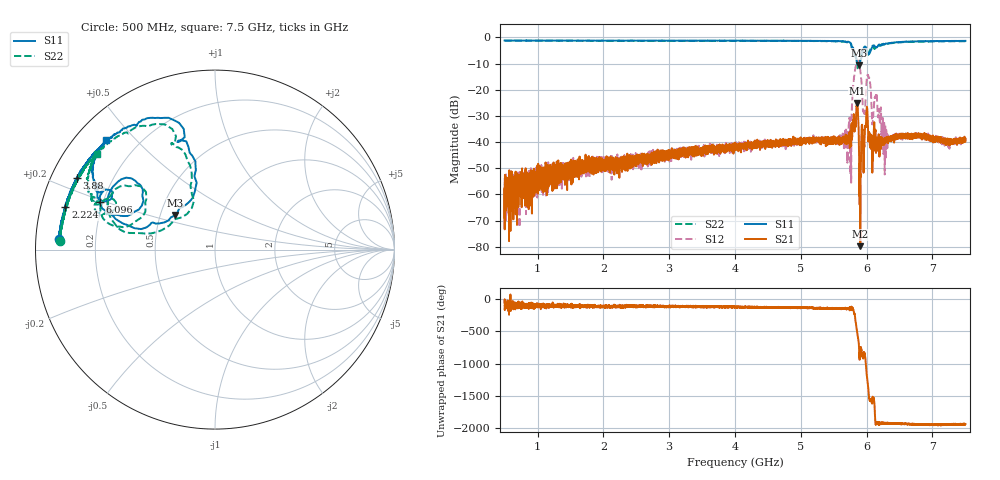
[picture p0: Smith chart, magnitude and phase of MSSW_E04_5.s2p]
!Keysight Technologies,M9374A,MY55442783,A.12.55.05
!Date: Wednesday, May 19, 2021 18:38:31
!Correction: S11(Full 2 Port(1,2))
!S21(Full 2 Port(1,2))
!S12(Full 2 Port(1,2))
!S22(Full 2 Port(1,2))
!S2P File: Measurements: S11, S21, S12, S22:
# Hz S  RI  R 50
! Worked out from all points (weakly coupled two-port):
!   7001 points, 500 MHz to 7.5 GHz, reference 50 ohm
!   highest |S21| = -25.03 dB at 5.859 GHz (marker M1); lowest = -79.8 dB at 5.903 GHz (marker M2)
!   lowest |S11| = -10.7 dB at 5.883 GHz (marker M3), VSWR 1.83, Z = 30 + j12.6 ohm
!   |S11| at or under -10 dB: 5.856 GHz to 5.895 GHz (39.51 MHz wide, 0.673 % of centre)
!   |S22| runs from -12.0 to -1.2 dB; largest |S21 - S12| = 0.34
!   S11 on the Smith chart (normalised r, x): 500 MHz: 0.07, +0.03; 2.224 GHz: 0.07, +0.14; 3.88 GHz: 0.08, +0.24; 6.096 GHz: 0.19, +0.19; 7.5 GHz: 0.09, +0.41
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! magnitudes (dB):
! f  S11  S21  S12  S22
! 500 MHz  -1.2  -58.0  -69.8  -1.2
! 536 MHz  -1.2  -62.0  -63.2  -1.2
! 717 MHz  -1.2  -60.6  -54.1  -1.2
! 1.667 GHz  -1.3  -48.6  -53.2  -1.3
! 2.224 GHz  -1.2  -47.4  -47.7  -1.3
! 2.834 GHz  -1.2  -45.2  -45.7  -1.3
! 3.88 GHz  -1.2  -41.9  -41.9  -1.3
! 4 GHz  -1.3  -41.1  -41.0  -1.3
! 5.167 GHz  -1.3  -39.4  -39.3  -1.4
! 5.732 GHz  -1.7  -36.4  -32.1  -1.9
! 5.814 GHz  -5.3  -34.7  -14.6  -5.6
! 5.859 GHz  -10.4  -25.0  -8.6  -11.4
! 5.883 GHz  -10.7  -40.6  -9.8  -10.9
! 5.903 GHz  -9.0  -79.8  -12.8  -8.1
! 5.923 GHz  -7.5  -35.1  -17.4  -5.9
! 5.956 GHz  -4.0  -45.4  -28.4  -3.7
! 6.004 GHz  -4.9  -26.5  -15.3  -6.6
! 6.034 GHz  -6.4  -37.7  -15.6  -6.0
! 6.096 GHz  -3.2  -41.4  -31.0  -3.6
! 6.153 GHz  -3.8  -38.3  -21.9  -3.4
! 6.334 GHz  -2.3  -39.7  -39.0  -2.3
! 7.5 GHz  -1.3  -39.7  -38.5  -1.5
